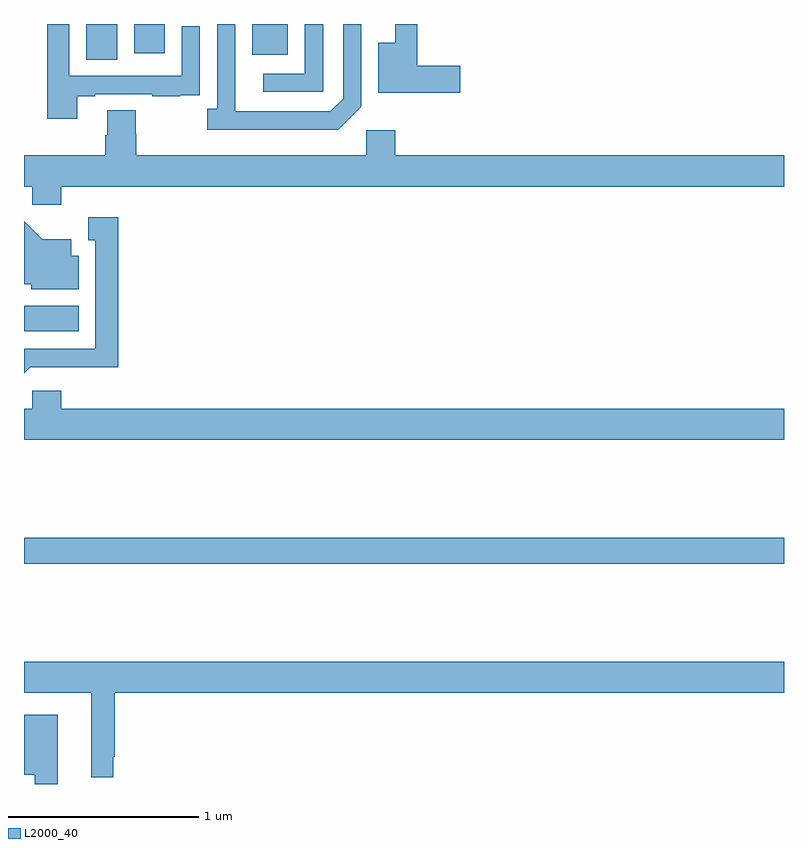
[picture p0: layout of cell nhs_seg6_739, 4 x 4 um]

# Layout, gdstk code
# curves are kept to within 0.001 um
import gdstk
lib = gdstk.Library(unit=1e-6, precision=1e-09)
def R(c, l, rs):  # rectangles x0, y0, x1, y1
    for r in rs: c.add(gdstk.rectangle(r[:2], r[2:], *l))
def P(c, l, *ps):  # polygons
    for p in ps: c.add(gdstk.Polygon(p, *l))
L2000_40 = (2000, 40)

nhs_seg6_739 = lib.new_cell('nhs_seg6_739')
R(nhs_seg6_739, L2000_40, [(157,970.66,161,970.796), (157,971.882,157.288,972.016), (157.328,973.312,157.492,973.5), (158.201,973.337,158.389,973.5), (157.58,973.347,157.741,973.5)])
P(nhs_seg6_739, L2000_40, [(157.279,973.119),(157.375,973.119),(157.375,973.131),(157.675,973.131),(157.675,973.119),(157.823,973.119),(157.823,973.125),(157.925,973.125),(157.925,973.234),(157.926,973.234),(157.926,973.489),(157.83,973.489),(157.83,973.227),(157.239,973.227),(157.239,973.5),(157.123,973.5),(157.123,973.002),(157.279,973.002)],
  [(159.295,973.28),(159.071,973.28),(159.071,973.5),(158.954,973.5),(158.954,973.402),(158.864,973.402),(158.864,973.138),(159.295,973.138)],
  [(158.574,973.5),(158.478,973.5),(158.478,973.239),(158.259,973.239),(158.259,973.143),(158.574,973.143)],
  [(158.775,973.065),(158.775,973.5),(158.679,973.5),(158.679,973.107),(158.613,973.041),(158.113,973.041),(158.112,973.5),(158.016,973.5),(158.016,973.054),(157.965,973.054),(157.965,972.944),(158.654,972.944)],
  [(157.196,972.644),(161,972.644),(161,972.808),(158.954,972.808),(158.954,972.94),(158.802,972.94),(158.802,972.808),(157.592,972.808),(157.592,972.921),(157.587,972.921),(157.587,973.046),(157.439,973.046),(157.439,972.914),(157.427,972.914),(157.427,972.808),(157,972.808),(157,972.644),(157.044,972.644),(157.044,972.549),(157.196,972.549)],
  [(157.032,971.694),(157.254,971.694),(157.254,971.693),(157.495,971.693),(157.495,972.484),(157.337,972.484),(157.337,972.363),(157.376,972.363),(157.376,971.79),(157,971.79),(157,971.662)],
  [(157.288,972.28),(157.249,972.28),(157.249,972.367),(157.097,972.367),(157,972.463),(157,972.131),(157.038,972.131),(157.038,972.104),(157.288,972.104)],
  [(161,971.476),(157.196,971.476),(157.196,971.569),(157.044,971.569),(157.044,971.476),(157,971.476),(157,971.312),(161,971.312)],
  [(157.47,969.643),(157.477,969.643),(157.477,969.98),(161,969.98),(161,970.144),(157,970.144),(157,969.98),(157.355,969.98),(157.355,969.536),(157.47,969.536)],
  [(157.177,969.865),(157,969.865),(157,969.55),(157.056,969.55),(157.056,969.5),(157.177,969.5)])

lib.write_gds('nhs_seg6_739.gds')
